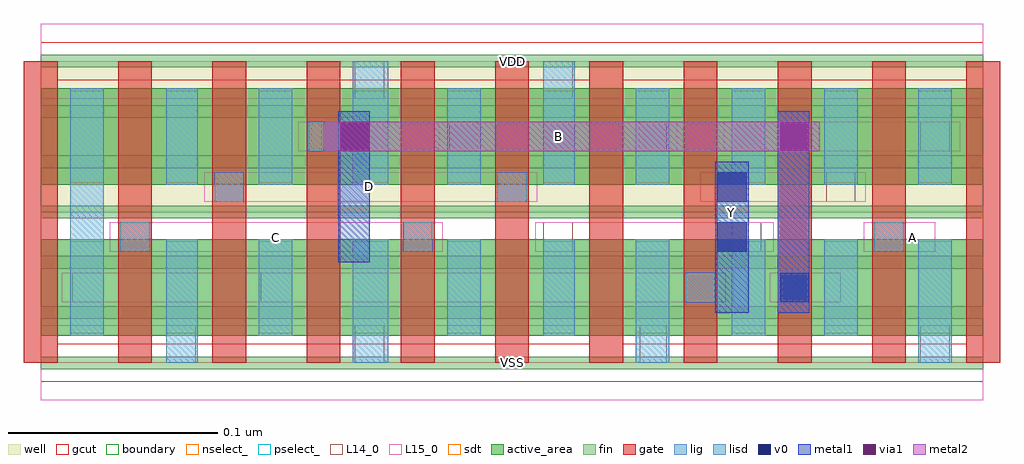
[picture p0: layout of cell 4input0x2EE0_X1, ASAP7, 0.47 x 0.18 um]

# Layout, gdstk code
import gdstk
lib = gdstk.Library(unit=1e-6, precision=1e-09)
def R(c, l, rs):  # rectangles x0, y0, x1, y1
    for r in rs: c.add(gdstk.rectangle(r[:2], r[2:], *l))
def A(c, l, x, y, w, h, nx, ny, dx, dy):  # array of equal rectangles
    R(c, l, [(x+i*dx, y+j*dy, x+i*dx+w, y+j*dy+h) for i in range(nx) for j in range(ny)])
def P(c, l, *ps):  # polygons
    for p in ps: c.add(gdstk.Polygon(p, *l))
well = (1, 0)
fin = (2, 0)
gate = (7, 0)
gcut = (10, 0)
active_area = (11, 0)
nselect_ = (12, 0)
pselect_ = (13, 0)
L14_0 = (14, 0)
L15_0 = (15, 0)
lig = (16, 0)
lisd = (17, 0)
v0 = (18, 0)
metal1 = (19, 0)
metal2 = (20, 0)
via1 = (21, 0)
sdt = (88, 0)
boundary = (100, 0)

c_4input0x2ee0_x1 = lib.new_cell('4input0x2EE0_X1')
R(c_4input0x2ee0_x1, well, [(0,0.072,0.45,0.144)])
A(c_4input0x2ee0_x1, fin, 0, -0.003, 0.45, 0.006, 1, 7, 0, 0.024)
A(c_4input0x2ee0_x1, gate, -0.008, 0, 0.016, 0.144, 11, 1, 0.045, 0)
P(c_4input0x2ee0_x1, gcut, [(0,-0.009),(0,0),(-0.008,0),(-0.008,0.135),(0.008,0.135),(0.008,0.009),(0.262,0.009),(0.262,0.135),(0.278,0.135),(0.278,0.009),(0.442,0.009),(0.442,0.135),(-0.008,0.135),(-0.008,0.144),(0,0.144),(0,0.153),(0.45,0.153),(0.45,0.144),(0.458,0.144),(0.458,0),(0.45,0),(0.45,-0.009)])
R(c_4input0x2ee0_x1, active_area, [(0,0.013,0.45,0.059), (0,0.085,0.45,0.131)])
R(c_4input0x2ee0_x1, nselect_, [(0,0,0.45,0.072)])
R(c_4input0x2ee0_x1, pselect_, [(0,0.072,0.45,0.144)])
R(c_4input0x2ee0_x1, L14_0, [(0.06,0,0.074,0.018), (0.15,0,0.164,0.018), (0.286,0,0.299,0.018), (0.42,0,0.434,0.018), (0.015,0.029,0.03,0.043), (0.105,0.029,0.12,0.043), (0.308,0.029,0.322,0.043), (0.353,0.029,0.367,0.043), (0.038,0.053,0.052,0.067), (0.173,0.053,0.187,0.067), (0.24,0.053,0.254,0.067), (0.33,0.053,0.344,0.067), (0.398,0.053,0.412,0.067), (0.083,0.077,0.097,0.091), (0.218,0.077,0.232,0.091), (0.375,0.077,0.389,0.091), (0.128,0.101,0.142,0.115), (0.195,0.101,0.209,0.115), (0.286,0.101,0.299,0.115), (0.33,0.101,0.344,0.115), (0.42,0.101,0.434,0.115), (0.15,0.126,0.164,0.144), (0.24,0.126,0.254,0.144)])
R(c_4input0x2ee0_x1, L15_0, [(0,-0.018,0.45,0.018), (0.01,0.029,0.327,0.043), (0.348,0.029,0.382,0.043), (0.033,0.053,0.192,0.067), (0.236,0.053,0.35,0.067), (0.393,0.053,0.427,0.067), (0.078,0.077,0.237,0.091), (0.315,0.077,0.394,0.091), (0.123,0.101,0.162,0.115), (0.19,0.101,0.304,0.115), (0.326,0.101,0.439,0.115), (0,0.126,0.45,0.162)])
R(c_4input0x2ee0_x1, lig, [(0.308,0.029,0.322,0.043), (0.353,0.029,0.367,0.043), (0.038,0.053,0.052,0.067), (0.173,0.053,0.187,0.067), (0.398,0.053,0.412,0.067), (0.083,0.077,0.097,0.091), (0.218,0.077,0.232,0.091), (0.128,0.101,0.142,0.115)])
A(c_4input0x2ee0_x1, lisd, 0.104, 0.085, 0.016, 0.046, 3, 1, 0.09, 0)
R(c_4input0x2ee0_x1, lisd, [(0.06,0,0.075,0.059), (0.149,0,0.166,0.059), (0.284,0,0.3,0.059), (0.419,0,0.435,0.059), (0.014,0.013,0.03,0.131), (0.104,0.013,0.12,0.059), (0.194,0.013,0.21,0.059), (0.24,0.013,0.255,0.059), (0.33,0.013,0.346,0.059), (0.374,0.013,0.39,0.059), (0.06,0.085,0.075,0.131), (0.149,0.085,0.166,0.144), (0.24,0.085,0.255,0.144), (0.33,0.085,0.346,0.131), (0.374,0.085,0.39,0.131), (0.419,0.085,0.435,0.131)])
R(c_4input0x2ee0_x1, v0, [(0.353,0.029,0.367,0.043), (0.323,0.053,0.337,0.067), (0.323,0.077,0.337,0.091), (0.143,0.101,0.157,0.115)])
R(c_4input0x2ee0_x1, metal1, [(0.322,0.024,0.338,0.096), (0.352,0.024,0.367,0.12), (0.142,0.048,0.157,0.12)])
R(c_4input0x2ee0_x1, metal2, [(0.135,0.101,0.372,0.115)])
R(c_4input0x2ee0_x1, via1, [(0.143,0.101,0.157,0.115), (0.353,0.101,0.367,0.115)])
A(c_4input0x2ee0_x1, sdt, 0.014, 0.014, 0.016, 0.044, 4, 2, 0.09, 0.072)
R(c_4input0x2ee0_x1, sdt, [(0.06,0.014,0.075,0.058), (0.149,0.014,0.166,0.058), (0.24,0.014,0.255,0.058), (0.33,0.014,0.346,0.058), (0.374,0.014,0.39,0.058), (0.419,0.014,0.435,0.058), (0.06,0.086,0.075,0.13), (0.149,0.086,0.166,0.13), (0.24,0.086,0.255,0.13), (0.33,0.086,0.346,0.13), (0.374,0.086,0.39,0.13), (0.419,0.086,0.435,0.13)])
R(c_4input0x2ee0_x1, boundary, [(0,0,0.45,0.144)])
c_4input0x2ee0_x1.add(gdstk.Label('C', (0.112,0.06), layer=15, texttype=251))
c_4input0x2ee0_x1.add(gdstk.Label('VSS', (0.225,0), layer=15, texttype=251))
c_4input0x2ee0_x1.add(gdstk.Label('VDD', (0.225,0.144), layer=15, texttype=251))
c_4input0x2ee0_x1.add(gdstk.Label('D', (0.157,0.084), layer=15, texttype=251))
c_4input0x2ee0_x1.add(gdstk.Label('VSS', (0.225,0), layer=15, texttype=251))
c_4input0x2ee0_x1.add(gdstk.Label('VDD', (0.225,0.144), layer=15, texttype=251))
c_4input0x2ee0_x1.add(gdstk.Label('VSS', (0.225,0), layer=15, texttype=251))
c_4input0x2ee0_x1.add(gdstk.Label('VDD', (0.225,0.144), layer=15, texttype=251))
c_4input0x2ee0_x1.add(gdstk.Label('A', (0.416,0.06), layer=15, texttype=251))
c_4input0x2ee0_x1.add(gdstk.Label('VSS', (0.225,0), layer=15, texttype=251))
c_4input0x2ee0_x1.add(gdstk.Label('VDD', (0.225,0.144), layer=15, texttype=251))
c_4input0x2ee0_x1.add(gdstk.Label('VSS', (0.225,0), layer=15, texttype=251))
c_4input0x2ee0_x1.add(gdstk.Label('VDD', (0.225,0.144), layer=15, texttype=251))
c_4input0x2ee0_x1.add(gdstk.Label('VSS', (0.225,0), layer=3, texttype=251))
c_4input0x2ee0_x1.add(gdstk.Label('VSS', (0.225,0), layer=3, texttype=251))
c_4input0x2ee0_x1.add(gdstk.Label('VSS', (0.225,0), layer=3, texttype=251))
c_4input0x2ee0_x1.add(gdstk.Label('VSS', (0.225,0), layer=3, texttype=251))
c_4input0x2ee0_x1.add(gdstk.Label('VSS', (0.225,0), layer=3, texttype=251))
c_4input0x2ee0_x1.add(gdstk.Label('VDD', (0.225,0.144), layer=1, texttype=251))
c_4input0x2ee0_x1.add(gdstk.Label('VDD', (0.225,0.144), layer=1, texttype=251))
c_4input0x2ee0_x1.add(gdstk.Label('VDD', (0.225,0.144), layer=1, texttype=251))
c_4input0x2ee0_x1.add(gdstk.Label('VDD', (0.225,0.144), layer=1, texttype=251))
c_4input0x2ee0_x1.add(gdstk.Label('VDD', (0.225,0.144), layer=1, texttype=251))
c_4input0x2ee0_x1.add(gdstk.Label('B', (0.247,0.108), layer=20, texttype=251))
c_4input0x2ee0_x1.add(gdstk.Label('Y', (0.33,0.072), layer=19, texttype=251))

lib.write_gds('4input0x2EE0_X1.gds')
